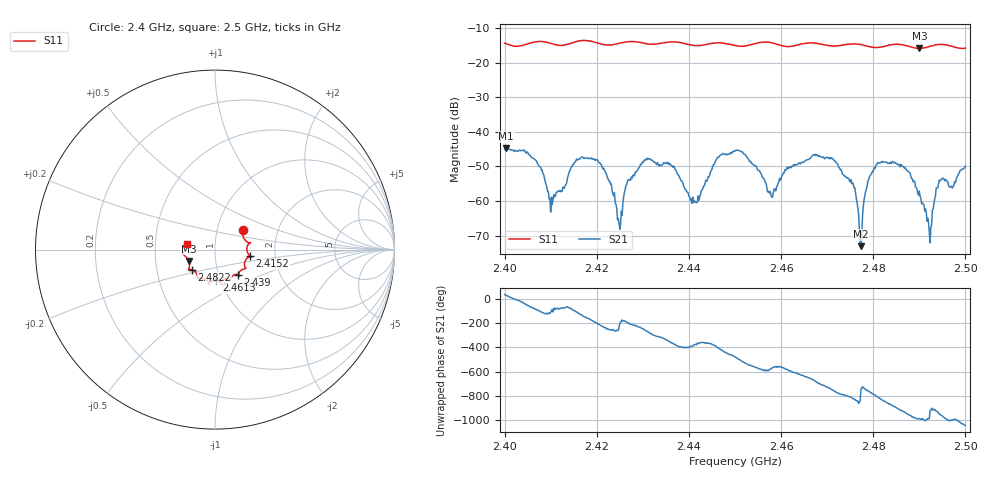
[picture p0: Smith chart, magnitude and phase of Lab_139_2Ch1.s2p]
# Hz S RI R 50
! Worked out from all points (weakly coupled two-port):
!   601 points, 2.4 GHz to 2.5 GHz, reference 50 ohm
!   highest |S21| = -44.80 dB at 2.4003 GHz (marker M1); lowest = -73.0 dB at 2.4773 GHz (marker M2)
!   lowest |S11| = -15.9 dB at 2.49 GHz (marker M3), VSWR 1.38, Z = 36.9 - j4.81 ohm
!   |S11| at or under -10 dB: start of sweep to end of sweep
!   S12 and S22 are empty: the file has one direction only
!   S11 on the Smith chart (normalised r, x): 2.4 GHz: 1.33, +0.31; 2.4152 GHz: 1.48, -0.11; 2.439 GHz: 1.24, -0.36; 2.4613 GHz: 0.96, -0.34; 2.4822 GHz: 0.75, -0.17; 2.5 GHz: 0.73, +0.05
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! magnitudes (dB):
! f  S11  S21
! 2.4 GHz  -14.4  -45.1
! 2.4003 GHz  -14.5  -44.8
! 2.4102 GHz  -14.5  -58.9
! 2.4152 GHz  -14.1  -48.8
! 2.4167 GHz  -13.6  -47.3
! 2.425 GHz  -14.4  -68.2
! 2.427 GHz  -13.9  -53.8
! 2.4333 GHz  -14.5  -49.6
! 2.439 GHz  -14.5  -56.1
! 2.45 GHz  -15.0  -45.5
! 2.4577 GHz  -14.2  -57.3
! 2.4613 GHz  -15.3  -50.2
! 2.4667 GHz  -14.3  -47.1
! 2.4752 GHz  -14.6  -53.8
! 2.4773 GHz  -14.8  -73.0
! 2.4792 GHz  -15.4  -53.0
! 2.4822 GHz  -15.4  -48.6
! 2.4833 GHz  -15.0  -49.2
! 2.49 GHz  -15.9  -57.1
! 2.4922 GHz  -15.3  -69.0
! 2.4947 GHz  -14.7  -53.9
! 2.5 GHz  -15.8  -49.9
